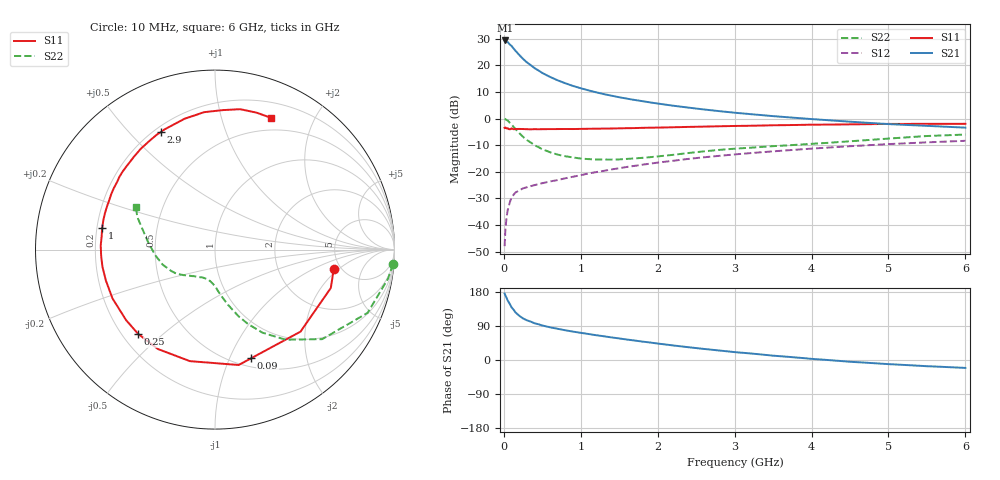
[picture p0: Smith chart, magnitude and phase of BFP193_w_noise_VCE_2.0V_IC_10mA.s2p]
! (c) 2017  Infineon Technologies AG, Munich
! Infineon Technologies  Discrete & RF Semiconductors
! BFP193
! VCE =  2.0 V,  IC =  10 mA
! Common Emitter S-Parameters:  Jan 2017
# GHz  S  MA  R  50
!  f  S11  S21  S12  S22
! GHz  MAG  ANG  MAG  ANG  MAG  ANG  MAG  ANG
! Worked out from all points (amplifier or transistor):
!   77 points, 10 MHz to 6 GHz, reference 50 ohm
!   highest |S21| = 29.4 dB at 20 MHz (marker M1)
!   |S21| within 3 dB of that: start of sweep to 126.4 MHz
!   unconditionally stable (mu >= 1): 1.127 GHz to 2.726 GHz
!   at 130 MHz: K = 0.24, MSG = 27.4 dB, |S12| = -28.5 dB
!   at 2.2 GHz: K = 1.04, MAG = 9.1 dB, |S12| = -15.9 dB
!   at 6 GHz: K = 0.91, MSG = 2.5 dB, |S12| = -8.4 dB
!   lowest NFmin = 0.87 dB at 450 MHz
!   S11 on the Smith chart (normalised r, x): 10 MHz: 4.36, -1.71; 90 MHz: 0.59, -1.20; 250 MHz: 0.26, -0.42; 1 GHz: 0.22, +0.09; 2.9 GHz: 0.23, +0.62; 6 GHz: 0.36, +1.45
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0.01  0.6702 -9.3  29.35 175.3  0.004 84.7  0.9954 -4.7
0.02  0.6798 -18.3  29.39 170.6  0.0081 88.3  0.9774 -9.5
0.05  0.6602 -43.8  27.43 157.0  0.019 70.9  0.9206 -22.5
0.09  0.6382 -71.7  23.83 143.0  0.03 59.4  0.8 -36.0
0.1  0.6564 -78.4  23.2 138.9  0.0329 57.8  0.778 -39.9
0.15  0.637 -102.7  18.92 125.9  0.0407 49.3  0.638 -51.9
0.2  0.6388 -119.9  15.7 116.8  0.0446 45.0  0.5338 -60.2
0.25  0.6356 -132.4  13.23 109.7  0.0489 42.2  0.4543 -66.0
0.3  0.6322 -141.6  11.38 104.7  0.0513 41.0  0.3947 -70.5
0.4  0.6327 -154.6  8.856 96.9  0.0562 40.8  0.3154 -76.8
0.5  0.6319 -164.1  7.2 91.1  0.061 41.7  0.2658 -81.6
0.6  0.6344 -171.3  6.073 86.3  0.0658 43.3  0.2332 -85.6
0.7  0.6353 -176.9  5.231 82.3  0.07 45.1  0.2101 -88.8
1  0.64 169.3  3.716 71.7  0.0862 48.3  0.1773 -98.9
1.1  0.6431 165.4  3.388 68.6  0.0931 49.0  0.1731 -101.7
1.5  0.6558 151.8  2.517 56.9  0.1167 49.6  0.1709 -115.2
2.1  0.6811 133.9  1.83 41.0  0.1548 47.4  0.2012 -133.6
2.9  0.7214 114.8  1.334 23.0  0.2056 41.3  0.2646 -151.9
3.1  0.7293 110.6  1.251 19.1  0.2178 39.5  0.2772 -156.2
4.1  0.769 92.9  0.957 1.6  0.2781 29.8  0.3421 -177.4
5.1  0.7944 78.4  0.776 -11.9  0.3363 18.9  0.4303 162.6
6  0.7976 67.0  0.676 -20.9  0.3821 8.9  0.5014 151.5
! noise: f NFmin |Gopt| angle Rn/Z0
0.45  0.87  0.21  156  0.07
0.9  1  0.35  173  0.06
1.9  1.75  0.57  -146  0.13
2.4  2.13  0.63  -128  0.31
